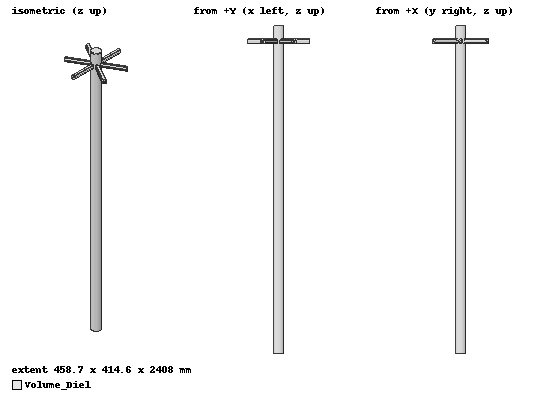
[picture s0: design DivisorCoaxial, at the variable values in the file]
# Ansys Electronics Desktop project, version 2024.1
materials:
  vacuum: permittivity=1
  Ar: permittivity=1.0006 permeability=1
  pec: conductivity=1e+30
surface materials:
  Steel-oxidised-surface

design DivisorCoaxial (HFSS, HFSS Modal Network, model units mm)
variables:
  comp_total = 2408.3241mm
  comp_secoes = 2293.642mm
  dia_int_tubo = 76.217mm
  dia_saida_diel = dia_int_tubo / 2.2
  dia_saida_cond = (dia_int_tubo / 2.2) / 2.3
  comp_saida = 229.3642mm
  dia_sc1 = 41.04656mm
  dia_sc2 = 54.217466mm
  dia_sc3 = 63.190587mm
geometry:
  Volume_Diel [Ar] = cylinder(axis=Z, base_centre=(0mm, 0mm, 0mm), radius=dia_int_tubo/2, height=comp_total)
  Condutor_Unico [pec] = cylinder(axis=Z, base_centre=(0mm, 0mm, 0mm), radius=dia_sc1/2, height=764.54735mm)
  Cond_Sec2 = cylinder(axis=Z, base_centre=(0mm, 0mm, 764.54735mm), radius=dia_sc2/2, height=764.54735mm)
  Cond_Sec3 = cylinder(axis=Z, base_centre=(0mm, 0mm, 1529.0947mm), radius=dia_sc3/2, height=764.54735mm)
  Output_Outer_1 = cylinder(axis=X, base_centre=(0mm, 0mm, comp_secoes), radius=dia_saida_diel/2, height=comp_saida)
  Output_Inner_1 = cylinder(axis=X, base_centre=(0mm, 0mm, comp_secoes), radius=dia_saida_cond/2, height=comp_saida)
  Output_Outer_1_1..Output_Outer_1_5 = Output_Outer_1.duplicate_around_axis(axis=Z, angle=360deg/6, total=6)
  Output_Inner_1_1..Output_Inner_1_5 = Output_Inner_1.duplicate_around_axis(axis=Z, angle=360deg/6, total=6)
  Volume_Diel.unite(Output_Outer_1, Output_Outer_1_1..Output_Outer_1_5)
  Condutor_Unico.unite(Cond_Sec2, Cond_Sec3, Output_Inner_1, Output_Inner_1_1..Output_Inner_1_5)
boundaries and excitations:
  P1: Wave Port Faces=Volume_Diel.face(-z end) WavePortType=Modal NumModes=1 Modes{Mode1{CharImp=Zpi RenormImp=50ohm}}
  P2: Wave Port Faces=Volume_Diel.face(at (229.364, 0, 2293.64)) WavePortType=Modal NumModes=1 Modes{Mode1{CharImp=Zpi RenormImp=50ohm}}
  P3: Wave Port Faces=Volume_Diel.face(at (114.682, 198.635, 2293.64)) WavePortType=Modal NumModes=1 Modes{Mode1{CharImp=Zpi RenormImp=50ohm}}
  P4: Wave Port Faces=Volume_Diel.face(at (-114.682, 198.635, 2293.64)) WavePortType=Modal NumModes=1 Modes{Mode1{CharImp=Zpi RenormImp=50ohm}}
  P5: Wave Port Faces=Volume_Diel.face(at (-229.364, 0, 2293.64)) WavePortType=Modal NumModes=1 Modes{Mode1{CharImp=Zpi RenormImp=50ohm}}
  P6: Wave Port Faces=Volume_Diel.face(at (-114.682, -198.635, 2293.64)) WavePortType=Modal NumModes=1 Modes{Mode1{CharImp=Zpi RenormImp=50ohm}}
  P7: Wave Port Faces=Volume_Diel.face(at (114.682, -198.635, 2293.64)) WavePortType=Modal NumModes=1 Modes{Mode1{CharImp=Zpi RenormImp=50ohm}}
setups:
  Setup1: HfssDriven Frequency=0.098GHz MaxDeltaS=0.02 MaximumPasses=8 MinimumPasses=1 MinimumConvergedPasses=1 PercentRefinement=30 BasisOrder=1 PortAccuracy=2 DrivenSolverType="Direct Solver"
    sweep Sweep1: 88MHz to 108MHz, 201 points; Type=Fast
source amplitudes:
  P1:1: 1W 0deg
  P2:1, P3:1, P4:1, P5:1, P6:1, P7:1: 0W 0deg
